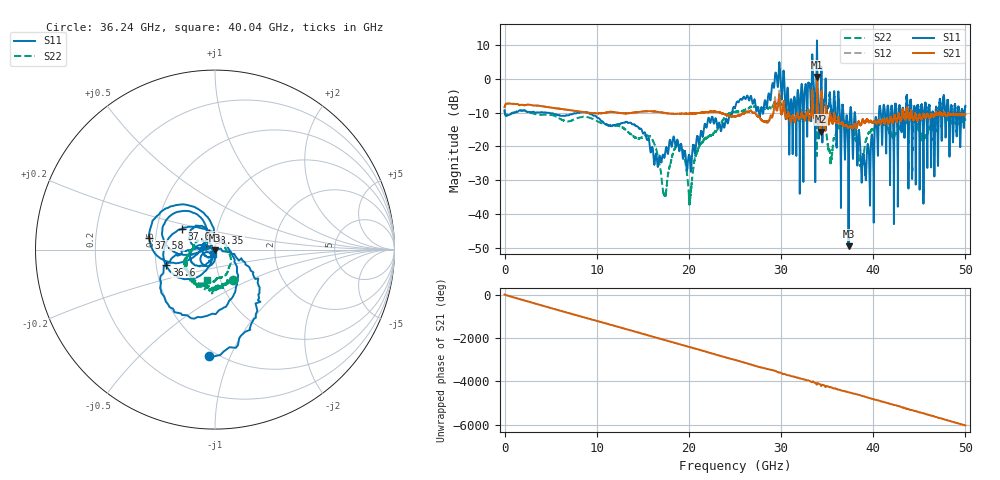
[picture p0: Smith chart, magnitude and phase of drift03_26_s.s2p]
!Created with skrf (http://scikit-rf.org).
# Hz S RI R 50.0
!freq ReS11 ImS11 ReS21 ImS21 ReS12 ImS12 ReS22 ImS22
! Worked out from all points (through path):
!   10001 points, 300 kHz to 50 GHz, reference 50 ohm
!   highest |S21| = 0.54 dB at 33.9 GHz (marker M1); lowest = -15.6 dB at 34.32 GHz (marker M2)
!   group delay of S21, straight-line fit = 335 ps
!   lowest |S11| = -49.5 dB at 37.32 GHz (marker M3), VSWR 1.01, Z = 49.9 - j0.307 ohm
!   |S11| at or under -10 dB: 4.471 GHz to 7.931 GHz (3.461 GHz wide, 55.8 % of centre); 9.008 GHz to 24.7 GHz (15.69 GHz wide, 93.1 % of centre); 38.01 GHz to 40.62 GHz (2.613 GHz wide, 6.65 % of centre) (the widest 3 of 65)
!   |S22| runs from -37.2 to -5.9 dB; largest |S21 - S12| = 0.11
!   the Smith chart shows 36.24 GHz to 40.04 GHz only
!   S11 on the Smith chart (normalised r, x): 36.24 GHz: 0.45, -0.83; 36.6 GHz: 0.57, -0.10; 37.04 GHz: 0.67, +0.17; 37.58 GHz: 0.46, +0.07; 38.35 GHz: 0.92, +0.17; 40.04 GHz: 0.98, -0.05
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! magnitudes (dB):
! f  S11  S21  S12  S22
! 300 kHz  -9.3  -8.4  -8.4  -9.2
! 8.335 GHz  -9.9  -9.8  -9.8  -11.3
! 16.67 GHz  -25.5  -9.8  -9.8  -23.4
! 17.37 GHz  -23.1  -10.1  -10.1  -34.6
! 19.06 GHz  -20.1  -10.3  -10.4  -20.0
! 20.12 GHz  -24.2  -10.3  -10.3  -36.8
! 21.19 GHz  -17.7  -10.1  -10.1  -19.5
! 25 GHz  -8.6  -11.1  -11.1  -9.9
! 31.08 GHz  -6.1  -12.7  -12.7  -10.5
! 33.34 GHz  0.3  -7.6  -7.7  -9.4
! 33.9 GHz  11.3  0.5  0.1  -22.8
! 34.32 GHz  -2.9  -15.6  -15.0  -11.3
! 35.35 GHz  -6.6  -10.5  -10.0  -24.4
! 36.24 GHz  -4.5  -11.8  -11.7  -14.2
! 36.6 GHz  -11.0  -13.0  -13.0  -13.0
! 37.04 GHz  -13.3  -13.9  -13.9  -13.7
! 37.32 GHz  -49.5  -14.4  -14.5  -13.7
! 37.58 GHz  -8.6  -13.9  -13.8  -14.2
! 38.35 GHz  -20.2  -13.0  -13.0  -19.8
! 40.04 GHz  -31.0  -12.8  -12.9  -15.1
! 41.67 GHz  -9.6  -13.3  -13.3  -15.1
! 50 GHz  -8.0  -10.5  -10.6  -12.1
